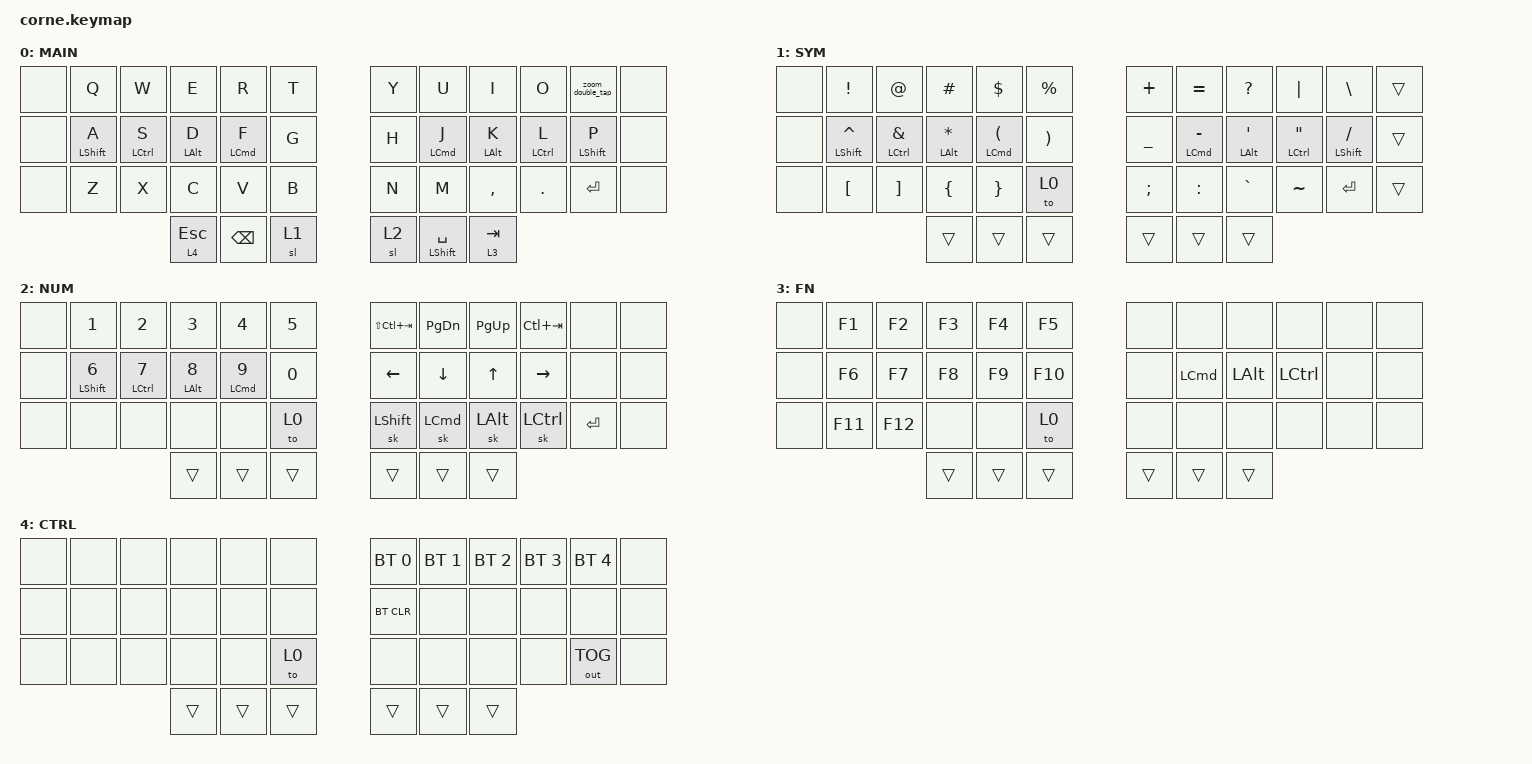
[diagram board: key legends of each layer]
/*
 * Copyright (c) 2020 The ZMK Contributors
 *
 * SPDX-License-Identifier: MIT
 */

#include <behaviors.dtsi>
#include <dt-bindings/zmk/bt.h>
#include <dt-bindings/zmk/keys.h>
#include <dt-bindings/zmk/outputs.h>

&mt {
    hold-while-undecided;
    require-prior-idle-ms = <125>;
    flavor = "balanced";
    quick-tap-ms = <50>;
};

/ {
    combos {
        compatible = "zmk,combos";

        esc {
            bindings = <&kp ESC>;
            key-positions = <38 39>;
            layers = <0 1 2>;
        };

        tab {
            bindings = <&kp TAB>;
            key-positions = <37 40>;
            layers = <0 1 2>;
        };
    };

    behaviors {
        zoom_double_tap: zoom_double_tap {
            compatible = "zmk,behavior-tap-dance";
            label = "ZOOM_DOUBLE_TAP";
            #binding-cells = <0>;
            bindings = <&none>, <&kp LS(LG(A))>;
        };
    };

    keymap {
        compatible = "zmk,keymap";

        MAIN {
            // -----------------------------------------------------------------------------------------
            // |  Q  |  W  |  E  |  R  |  T  |   |  Y  |  U   |  I  |  O  |  P  |
            // |  A  |  S  |  D  |  F  |  G  |   |  H  |  J   |  K  |  L  |  ;  |
            // |  Z  |  X  |  C  |  V  |  B  |   |  N  |  M   |  ,  |  .  |  /  |
            //                    | GUI | LWR | SPC |   | ENT | RSE  | ALT |

            bindings = <
&none  &kp Q         &kp W        &kp E       &kp R          &kp T    &kp Y  &kp U             &kp I       &kp O        &zoom_double_tap  &none
&none  &mt LSHIFT A  &mt LCTRL S  &mt LALT D  &mt LCMD F     &kp G    &kp H  &mt LCMD J        &mt LALT K  &mt LCTRL L  &mt LSHIFT P      &none
&none  &kp Z         &kp X        &kp C       &kp V          &kp B    &kp N  &kp M             &kp COMMA   &kp DOT      &kp ENTER         &none
                                  &lt 4 ESC   &kp BACKSPACE  &sl 1    &sl 2  &mt LSHIFT SPACE  &lt 3 TAB
            >;

            label = "MAIN";
        };

        SYMBOL {
            bindings = <
&none  &kp EXCL          &kp AT          &kp HASH        &kp DOLLAR     &kp PERCENT    &kp PLUS   &kp EQUAL       &kp QUESTION           &kp PIPE                 &kp BACKSLASH     &trans
&none  &mt LSHIFT CARET  &mt LCTRL AMPS  &mt LALT ASTRK  &mt LCMD LPAR  &kp RPAR       &kp UNDER  &mt LCMD MINUS  &mt LALT SINGLE_QUOTE  &mt LCTRL DOUBLE_QUOTES  &mt LSHIFT SLASH  &trans
&none  &kp LBKT          &kp RBKT        &kp LBRC        &kp RBRC       &to 0          &kp SEMI   &kp COLON       &kp GRAVE              &kp TILDE                &kp ENTER         &trans
                                         &trans          &trans         &trans         &trans     &trans          &trans
            >;

            label = "SYM";
        };

        NUMBER {
            bindings = <
&none  &kp N1         &kp N2        &kp N3       &kp N4       &kp N5    &kp LS(LC(TAB))  &kp PG_DN  &kp PG_UP  &kp LC(TAB)  &none      &none
&none  &mt LSHIFT N6  &mt LCTRL N7  &mt LALT N8  &mt LCMD N9  &kp N0    &kp LEFT         &kp DOWN   &kp UP     &kp RIGHT    &none      &none
&none  &none          &none         &none        &none        &to 0     &sk LSHFT        &sk LCMD   &sk LALT   &sk LCTRL    &kp ENTER  &none
                                    &trans       &trans       &trans    &trans           &trans     &trans
            >;

            label = "NUM";
        };

        FN_KEYS {
            bindings = <
&none  &kp F1   &kp F2   &kp F3  &kp F4  &kp F5     &none   &none     &none     &none      &none  &none
&none  &kp F6   &kp F7   &kp F8  &kp F9  &kp F10    &none   &kp LCMD  &kp LALT  &kp LCTRL  &none  &none
&none  &kp F11  &kp F12  &none   &none   &to 0      &none   &none     &none     &none      &none  &none
                         &trans  &trans  &trans     &trans  &trans    &trans
            >;

            label = "FN";
        };

        CTRL_BOARD {
            bindings = <
&none  &none  &none  &none   &none   &none     &bt BT_SEL 0  &bt BT_SEL 1  &bt BT_SEL 2  &bt BT_SEL 3  &bt BT_SEL 4  &none
&none  &none  &none  &none   &none   &none     &bt BT_CLR    &none         &none         &none         &none         &none
&none  &none  &none  &none   &none   &to 0     &none         &none         &none         &none         &out OUT_TOG  &none
                     &trans  &trans  &trans    &trans        &trans        &trans
            >;

            label = "CTRL";
        };
    };
};
